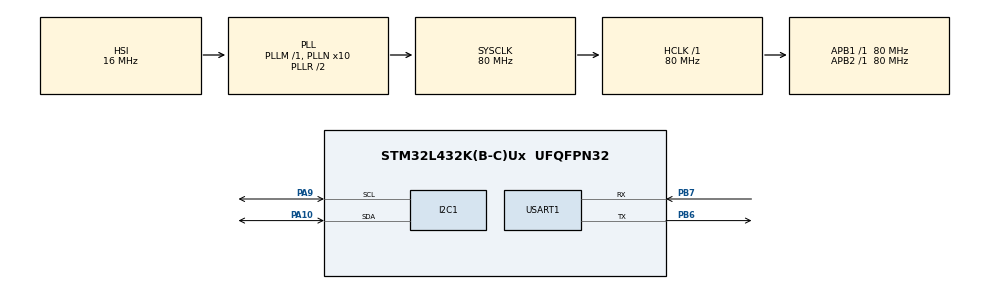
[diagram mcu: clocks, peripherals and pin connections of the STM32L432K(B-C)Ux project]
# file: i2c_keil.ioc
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Mcu.Family=STM32L4
Mcu.Name=STM32L432K(B-C)Ux
Mcu.Package=UFQFPN32
NVIC.PriorityGroup=NVIC_PRIORITYGROUP_4
NVIC.USART1_IRQn=true\:0\:0\:false\:false\:true\:true\:true
PA10.Mode=I2C
PA10.Signal=I2C1_SDA
PA13\ (JTMS-SWDIO).Mode=Serial_Wire
PA13\ (JTMS-SWDIO).Signal=SYS_JTMS-SWDIO
PA14\ (JTCK-SWCLK).Mode=Serial_Wire
PA14\ (JTCK-SWCLK).Signal=SYS_JTCK-SWCLK
PA9.Mode=I2C
PA9.Signal=I2C1_SCL
PB6.Mode=Asynchronous
PB6.Signal=USART1_TX
PB7.Mode=Asynchronous
PB7.Signal=USART1_RX
ProjectManager.HeapSize=0x200
ProjectManager.StackSize=0x400
ProjectManager.TargetToolchain=MDK-ARM V5
RCC.ADCFreq_Value=64000000
RCC.AHBFreq_Value=80000000
RCC.APB1Freq_Value=80000000
RCC.APB1TimFreq_Value=80000000
RCC.APB2Freq_Value=80000000
RCC.APB2TimFreq_Value=80000000
RCC.CortexFreq_Value=80000000
RCC.HCLKFreq_Value=80000000
RCC.HSE_VALUE=8000000
RCC.HSI48_VALUE=48000000
RCC.HSI_VALUE=16000000
RCC.LSE_VALUE=32768
RCC.MSI_VALUE=4000000
RCC.PLLN=10
RCC.PLLSourceVirtual=RCC_PLLSOURCE_HSI
RCC.SYSCLKFreq_VALUE=80000000
RCC.SYSCLKSource=RCC_SYSCLKSOURCE_PLLCLK
RCC.USBFreq_Value=64000000
RCC.VCOOutputFreq_Value=160000000
USART1.VirtualMode-Asynchronous=VM_ASYNC
board=i2c_keil

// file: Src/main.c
/* USER CODE BEGIN Header */
/**
  ******************************************************************************
  * @file           : main.c
  * @brief          : Main program body
  ******************************************************************************
  * @attention
  *
  * <h2><center>&copy; Copyright (c) 2019 STMicroelectronics.
  * All rights reserved.</center></h2>
  *
  * This software component is licensed by ST under BSD 3-Clause license,
  * the "License"; You may not use this file except in compliance with the
  * License. You may obtain a copy of the License at:
  *                        opensource.org/licenses/BSD-3-Clause
  *
  ******************************************************************************
  */
/* USER CODE END Header */

#include "main.h"

/* USER CODE BEGIN Includes */
#include <stdio.h>
#include <stdlib.h>
#include "pca9685.h"

/* USER CODE END Includes */

I2C_HandleTypeDef hi2c1;
UART_HandleTypeDef huart1;
__IO ITStatus UartReady = RESET;

uint8_t mRxBuffer[8], mTxBuffer[8];

uint16_t currentAngel[6] = {350};
/* USER CODE BEGIN PV */
/* Private variables ---------------------------------------------------------*/

/* USER CODE END PV */

void SystemClock_Config(void);
static void MX_GPIO_Init(void);
static void MX_I2C1_Init(void);
static void MX_USART1_UART_Init(void);
/* USER CODE BEGIN PFP */
/* Private function prototypes -----------------------------------------------*/
#ifdef __GNUC__
  /* With GCC/RAISONANCE, small printf (option LD Linker->Libraries->Small printf
     set to 'Yes') calls __io_putchar() */
  #define PUTCHAR_PROTOTYPE int __io_putchar(int ch)
#else
  #define PUTCHAR_PROTOTYPE int fputc(int ch, FILE *f)
#endif /* __GNUC__ */
/* USER CODE END PFP */

/* USER CODE BEGIN 0 */
/**
  * @brief  Retargets the C library printf function to the USART.
  * @param  None
  * @retval None
  */
PUTCHAR_PROTOTYPE
{
  /* Place your implementation of fputc here */
  /* e.g. write a character to the EVAL_COM1 and Loop until the end of transmission */
  HAL_UART_Transmit(&huart1, (uint8_t *)&ch, 1, 0xFFFF);

  return ch;
}

/* USER CODE END 0 */

int main(void)
{

  /* MCU Configuration--------------------------------------------------------*/

  /* Reset of all peripherals, Initializes the Flash interface and the Systick. */
  HAL_Init();

  /* USER CODE BEGIN Init */
  BSP_LED_Init(LED3);
  /* USER CODE END Init */

  /* Configure the system clock */
  SystemClock_Config();

  /* Initialize all configured peripherals */
  MX_GPIO_Init();
  MX_I2C1_Init();
  MX_USART1_UART_Init();
  /* USER CODE BEGIN 2 */
  // __HAL_UART_ENABLE(&huart1);
	__HAL_UART_ENABLE_IT(&huart1 , UART_IT_RXNE);
	__HAL_UART_ENABLE_IT(&huart1 , UART_IT_TC);

  HAL_UART_Receive_IT(&huart1, mRxBuffer, 8);
  /* USER CODE END 2 */

  /* Infinite loop */
  /* USER CODE BEGIN WHILE */
  PCA9685_Go();
	setPWMFreq(50);

  while (1)
  {

		// setPWM(0 , 200 ,200);

    /* USER CODE END WHILE */

  }
}

void SystemClock_Config(void)
{
  RCC_OscInitTypeDef RCC_OscInitStruct = {0};
  RCC_ClkInitTypeDef RCC_ClkInitStruct = {0};
  RCC_PeriphCLKInitTypeDef PeriphClkInit = {0};

  /** Initializes the CPU, AHB and APB busses clocks
  */
  RCC_OscInitStruct.OscillatorType = RCC_OSCILLATORTYPE_HSI;
  RCC_OscInitStruct.HSIState = RCC_HSI_ON;
  RCC_OscInitStruct.HSICalibrationValue = RCC_HSICALIBRATION_DEFAULT;
  RCC_OscInitStruct.PLL.PLLState = RCC_PLL_ON;
  RCC_OscInitStruct.PLL.PLLSource = RCC_PLLSOURCE_HSI;
  RCC_OscInitStruct.PLL.PLLM = 1;
  RCC_OscInitStruct.PLL.PLLN = 10;
  RCC_OscInitStruct.PLL.PLLP = RCC_PLLP_DIV7;
  RCC_OscInitStruct.PLL.PLLQ = RCC_PLLQ_DIV2;
  RCC_OscInitStruct.PLL.PLLR = RCC_PLLR_DIV2;
  if (HAL_RCC_OscConfig(&RCC_OscInitStruct) != HAL_OK)
  {
    Error_Handler();
  }
  /** Initializes the CPU, AHB and APB busses clocks
  */
  RCC_ClkInitStruct.ClockType = RCC_CLOCKTYPE_HCLK|RCC_CLOCKTYPE_SYSCLK
                              |RCC_CLOCKTYPE_PCLK1|RCC_CLOCKTYPE_PCLK2;
  RCC_ClkInitStruct.SYSCLKSource = RCC_SYSCLKSOURCE_PLLCLK;
  RCC_ClkInitStruct.AHBCLKDivider = RCC_SYSCLK_DIV1;
  RCC_ClkInitStruct.APB1CLKDivider = RCC_HCLK_DIV1;
  RCC_ClkInitStruct.APB2CLKDivider = RCC_HCLK_DIV1;

  if (HAL_RCC_ClockConfig(&RCC_ClkInitStruct, FLASH_LATENCY_4) != HAL_OK)
  {
    Error_Handler();
  }
  PeriphClkInit.PeriphClockSelection = RCC_PERIPHCLK_USART1|RCC_PERIPHCLK_I2C1;
  PeriphClkInit.Usart1ClockSelection = RCC_USART1CLKSOURCE_PCLK2;
  PeriphClkInit.I2c1ClockSelection = RCC_I2C1CLKSOURCE_PCLK1;
  if (HAL_RCCEx_PeriphCLKConfig(&PeriphClkInit) != HAL_OK)
  {
    Error_Handler();
  }
  /** Configure the main internal regulator output voltage
  */
  if (HAL_PWREx_ControlVoltageScaling(PWR_REGULATOR_VOLTAGE_SCALE1) != HAL_OK)
  {
    Error_Handler();
  }
}

static void MX_I2C1_Init(void)
{

  hi2c1.Instance = I2C1;
  hi2c1.Init.Timing = 0x10909CEC;
  hi2c1.Init.OwnAddress1 = 0;
  hi2c1.Init.AddressingMode = I2C_ADDRESSINGMODE_7BIT;
  hi2c1.Init.DualAddressMode = I2C_DUALADDRESS_DISABLE;
  hi2c1.Init.OwnAddress2 = 0;
  hi2c1.Init.OwnAddress2Masks = I2C_OA2_NOMASK;
  hi2c1.Init.GeneralCallMode = I2C_GENERALCALL_DISABLE;
  hi2c1.Init.NoStretchMode = I2C_NOSTRETCH_DISABLE;
  if (HAL_I2C_Init(&hi2c1) != HAL_OK)
  {
    Error_Handler();
  }
  /** Configure Analogue filter
  */
  if (HAL_I2CEx_ConfigAnalogFilter(&hi2c1, I2C_ANALOGFILTER_ENABLE) != HAL_OK)
  {
    Error_Handler();
  }
  /** Configure Digital filter
  */
  if (HAL_I2CEx_ConfigDigitalFilter(&hi2c1, 0) != HAL_OK)
  {
    Error_Handler();
  }

}

static void MX_USART1_UART_Init(void)
{

  huart1.Instance = USART1;
  huart1.Init.BaudRate = 115200;
  huart1.Init.WordLength = UART_WORDLENGTH_8B;
  huart1.Init.StopBits = UART_STOPBITS_1;
  huart1.Init.Parity = UART_PARITY_NONE;
  huart1.Init.Mode = UART_MODE_TX_RX;
  huart1.Init.HwFlowCtl = UART_HWCONTROL_NONE;
  huart1.Init.OverSampling = UART_OVERSAMPLING_16;
  huart1.Init.OneBitSampling = UART_ONE_BIT_SAMPLE_DISABLE;
  huart1.AdvancedInit.AdvFeatureInit = UART_ADVFEATURE_NO_INIT;
  if (HAL_UART_Init(&huart1) != HAL_OK)
  {
    Error_Handler();
  }
  /* USER CODE BEGIN USART1_Init 2 */
   HAL_NVIC_SetPriority(USART1_IRQn, 0, 0);
	 HAL_NVIC_EnableIRQ(USART1_IRQn);
  /* USER CODE END USART1_Init 2 */

}

static void MX_GPIO_Init(void)
{

  /* GPIO Ports Clock Enable */
  __HAL_RCC_GPIOA_CLK_ENABLE();
  __HAL_RCC_GPIOB_CLK_ENABLE();

}

/* USER CODE BEGIN 4 */
void HAL_UART_RxCpltCallback(UART_HandleTypeDef *huart)
{
  UNUSED(huart);

	if (huart->Instance == USART1) {
		char angel[4], change[2], orien[1], motor[1], led_cmd;
	  int theAngel, i, theChange, theMotor;
		uint8_t tempArr[4];
		theMotor = 0;

		for (i = 0; i < 4 ; i ++) {
			tempArr[i] = mRxBuffer[i];
		}

		sprintf(&angel[0], "%c",tempArr[0]);
		sprintf(&angel[1], "%c",tempArr[1]);
		sprintf(&angel[2], "%c",tempArr[2]);
		sprintf(&angel[3], "%c",tempArr[3]);

		sprintf(&change[0], "%c",mRxBuffer[5]);
		sprintf(&change[1], "%c",mRxBuffer[6]);

		sprintf(&orien[0], "%c",mRxBuffer[4]);
		sprintf(&motor[0], "%c",mRxBuffer[7]);

		theAngel  = atoi(angel);
		theChange = atoi(change);
		theMotor  = atoi(motor);

		/*
	  printf("number is [%d]\n\r", theAngel);
		printf("change value is [%d]\n\r", theChange);
		printf("orientation is [%c]\n\r", orien[0]);
		printf("Chosen Motor is [%d]\n\r", theMotor);
		*/

		led_cmd = orien[0];

		if (led_cmd == 'O') {
		   BSP_LED_On(LED3);
		}

		if (led_cmd == 'F') {
		    BSP_LED_Off(LED3);
		}

		if (led_cmd == 'L') {
			if (currentAngel[theMotor] >= SERVOMAX ) {
				currentAngel[theMotor] = SERVOMAX;
			} else {
			  currentAngel[theMotor] += (uint16_t)theChange;
			}
		}

		if (led_cmd == 'R') {

			if (currentAngel[theMotor] <= SERVOMIN ) {
				currentAngel[theMotor] = SERVOMIN;
			} else {
			  currentAngel[theMotor] -= (uint16_t)theChange;
			}
		}

		 printf("%d\n\r", currentAngel[theMotor]);

		 // Abosulute Angel

		setPWM(theMotor , SERVOMIN , currentAngel[theMotor]);
	}
	// HAL_UART_Transmit(&huart1, (uint8_t *)&cAlmStr, 16,0xFFFF);
	// HAL_UART_Receive_IT(&huart1, (uint8_t *)&RxBuffer, 8);

}
/* USER CODE END 4 */

void Error_Handler(void)
{
  /* USER CODE BEGIN Error_Handler_Debug */
  /* User can add his own implementation to report the HAL error return state */
  BSP_LED_On(LED3);
  while(1)
  {
    /* Error if LED3 is slowly blinking (1 sec. period) */
    BSP_LED_Toggle(LED3);
    HAL_Delay(3000);
  }
  /* USER CODE END Error_Handler_Debug */
}

/************************ (C) COPYRIGHT STMicroelectronics *****END OF FILE****/
